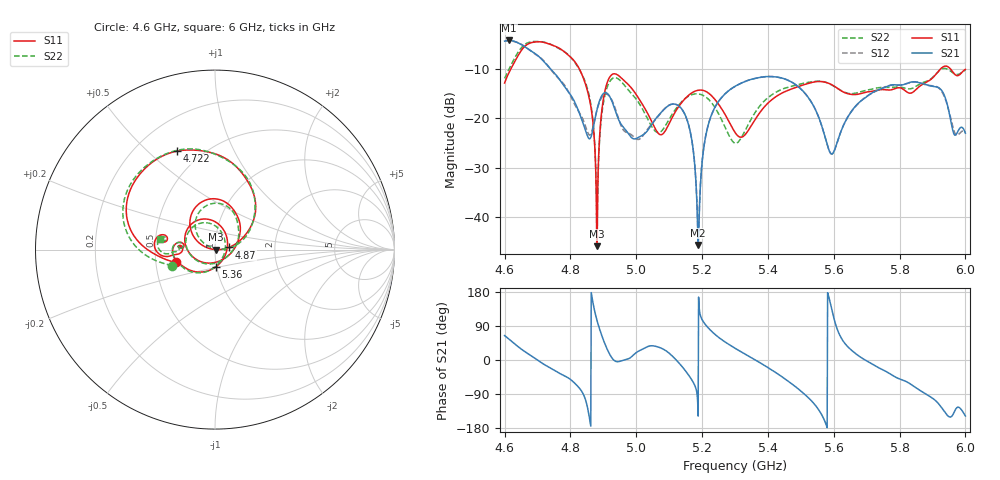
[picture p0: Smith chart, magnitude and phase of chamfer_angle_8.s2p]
! TOUCHSTONE file generated by CST MICROWAVE STUDIO
! Date and time: Sat Nov 30 03:29:16 2024
! Project name: test_tuning.cst
! Parameters = {airCoaxOuterDiameter=3; chamferAngle=49; chamferWidth=24; connectorLength=10; drillingHoleDiameter=4.1; feedLength=60; flareDiameter=130; flareLength=70; gratingDistance=0; gratingGap=1.90274; outletLength=30; polarizerLength=134; probe1Diameter=1.3; probe1Distance=14; probe1Length=1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
! Header version: 2024
! Port assignment regex: !\s*Touchstone port\s*([0-9]+)\s*=\s*(CST MWS port|CST DES external port|CST DES block port)\s*(.+)\s* \(\"(.*)\"\)(\s*mode\s*([0-9]+))?.*
! Touchstone port assignment:
! Touchstone port 1 = CST MWS port 1 ("Input1")
! Touchstone port 2 = CST MWS port 2 ("Input2")
# GHz S MA R 50
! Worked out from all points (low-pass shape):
!   1001 points, 4.6 GHz to 6 GHz, reference 50 ohm
!   highest |S21| = -4.18 dB at 4.614 GHz (marker M1); lowest = -45.7 dB at 5.188 GHz (marker M2)
!   |S21| within 3 dB of the highest: start of sweep to 4.699 GHz
!   lowest |S11| = -46.0 dB at 4.88 GHz (marker M3), VSWR 1.01, Z = 50.5 + j0.0022 ohm
!   |S11| at or under -10 dB: start of sweep to 4.618624 GHz; 4.827 GHz to 5.924 GHz (1.097 GHz wide, 20.4 % of centre); 5.955 GHz to end of sweep
!   |S22| runs from -43.0 to -4.4 dB; largest |S21 - S12| = 0.0097
!   S11 on the Smith chart (normalised r, x): 4.6 GHz: 0.64, -0.10; 4.722 GHz: 0.37, +0.62; 4.87 GHz: 1.17, +0.03; 5.36 GHz: 0.99, -0.19; 6 GHz: 0.52, +0.07
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4.6  0.2287 -162.0  0.6079 64.4  0.6097 63.7  0.2542 -159.5
4.614  0.2948 -170.6  0.6181 54.5  0.6122 54.2  0.3192 -167.7
4.663  0.5447 155.2  0.5285 21.2  0.5317 20.8  0.5671 154.4
4.7218  0.5882 111.2  0.3691 -12.7  0.3753 -12.8  0.5921 110.9
4.8338  0.2845 39.4  0.09832 -82.0  0.1046 -78.9  0.2853 40.2
4.8702  0.07844 8.8  0.08311 143.3  0.08635 138.5  0.08134 6.1
4.88  0.005028 0.2  0.1198 106.7  0.1191 103.1  0.008327 29.1
4.8996  0.1532 145.5  0.1777 54.1  0.1707 54.0  0.1397 137.4
4.9262  0.2785 103.1  0.1487 5.4  0.1525 7.3  0.2519 99.0
4.992  0.1902 42.2  0.0619 13.6  0.06505 11.3  0.1687 38.6
5.0676  0.07008 -50.4  0.1072 34.0  0.1058 34.3  0.07153 -61.2
5.1488  0.1591 176.7  0.1078 -27.7  0.1076 -27.6  0.1592 174.9
5.1698  0.1823 157.1  0.05702 -54.0  0.0574 -53.7  0.1743 154.9
5.188  0.1929 139.8  0.00518 -148.0  0.005778 -145.7  0.177 137.7
5.2216  0.1782 106.8  0.09264 82.1  0.09293 81.7  0.1536 104.9
5.3  0.07198 15.5  0.2113 31.0  0.2108 31.0  0.0559 -8.4
5.3602  0.09609 -87.1  0.2541 0.7  0.254 0.7  0.1134 -100.8
5.5338  0.2314 -169.3  0.1427 -109.1  0.143 -109.2  0.2352 -172.5
5.5954  0.2182 170.8  0.04362 128.7  0.04347 128.6  0.2166 170.1
5.7676  0.1936 176.1  0.2151 -34.6  0.2148 -35.1  0.2059 175.5
5.9146  0.291 -172.9  0.2074 -111.7  0.2084 -112.7  0.2922 -176.6
6  0.3143 169.4  0.07059 -147.6  0.07181 -139.9  0.3096 168.9
